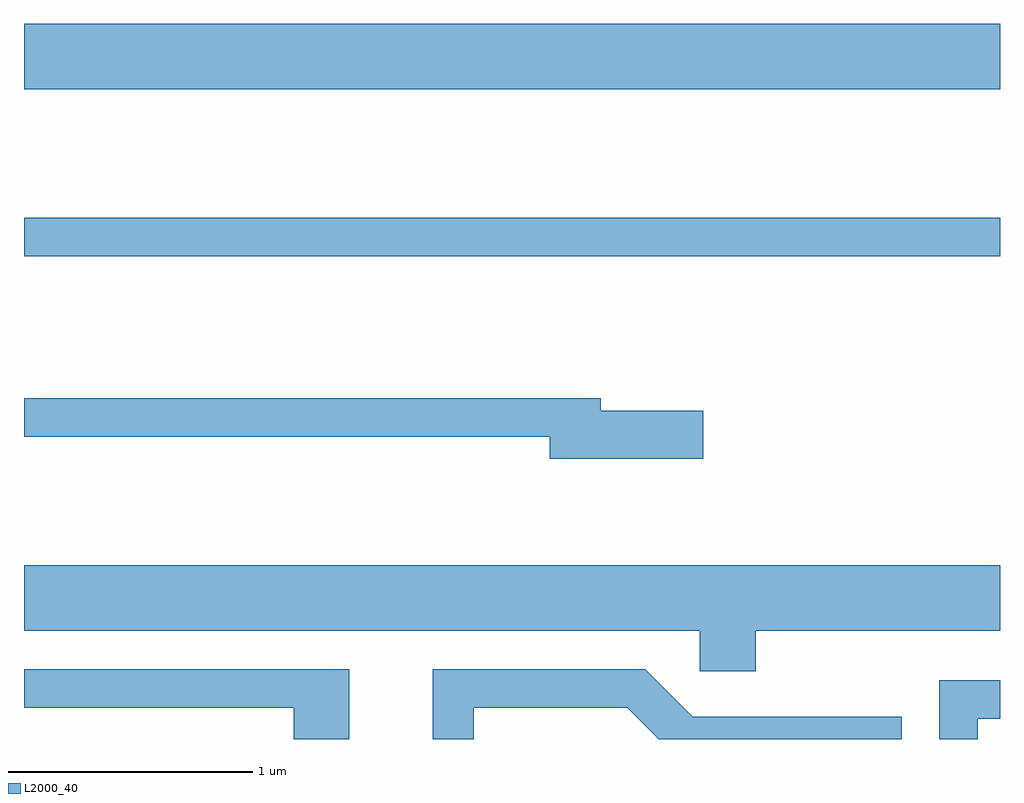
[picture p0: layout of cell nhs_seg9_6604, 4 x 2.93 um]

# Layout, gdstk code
import gdstk
lib = gdstk.Library(unit=1e-6, precision=1e-09)
def R(c, l, rs):  # rectangles x0, y0, x1, y1
    for r in rs: c.add(gdstk.rectangle(r[:2], r[2:], *l))
def P(c, l, *ps):  # polygons
    for p in ps: c.add(gdstk.Polygon(p, *l))
L2000_40 = (2000, 40)

nhs_seg9_6604 = lib.new_cell('nhs_seg9_6604')
R(nhs_seg9_6604, L2000_40, [(379.611,2044.411,383.611,2044.569), (379.611,2045.096,383.611,2045.364)])
P(nhs_seg9_6604, L2000_40, [(382.394,2043.779),(381.974,2043.779),(381.974,2043.829),(379.611,2043.829),(379.611,2043.671),(381.766,2043.671),(381.766,2043.581),(382.394,2043.581)],
  [(382.609,2042.876),(383.611,2042.876),(383.611,2043.144),(379.611,2043.144),(379.611,2042.876),(382.381,2042.876),(382.381,2042.711),(382.609,2042.711)],
  [(380.944,2042.719),(379.611,2042.719),(379.611,2042.561),(380.716,2042.561),(380.716,2042.432),(380.944,2042.432)],
  [(381.454,2042.561),(382.084,2042.561),(382.213,2042.432),(383.209,2042.432),(383.209,2042.524),(382.352,2042.524),(382.157,2042.719),(381.286,2042.719),(381.286,2042.432),(381.454,2042.432)],
  [(383.519,2042.516),(383.611,2042.516),(383.611,2042.674),(383.361,2042.674),(383.361,2042.432),(383.519,2042.432)])

lib.write_gds('nhs_seg9_6604.gds')
